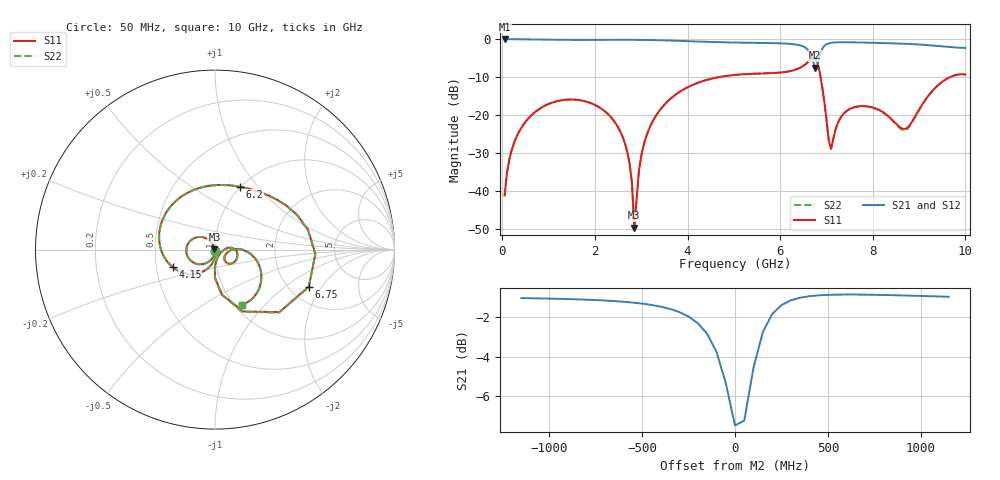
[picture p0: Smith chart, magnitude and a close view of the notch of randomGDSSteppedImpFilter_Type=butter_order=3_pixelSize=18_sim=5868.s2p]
! freq	dB(S11)	phase(S11)	dB(S12)	phase(S12)
!  dB(S21)	phase(S21)	dB(S22)	phase(S22)
!S-par simulation data
#  GHz  S  DB  R 50
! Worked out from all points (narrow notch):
!   200 points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, 50 MHz to 10 GHz, reference 50 ohm
!   highest |S21| = -0.01 dB at 50 MHz (marker M1); lowest = -7.5 dB at 6.75 GHz (marker M2)
!   notch at M2: 6.6 dB deep, 197 MHz wide at half that depth
!   lowest |S11| = -49.6 dB at 2.85 GHz (marker M3), VSWR 1.01, Z = 49.7 + j0.127 ohm
!   |S11| at or under -10 dB: start of sweep to 4.684 GHz; 6.872 GHz to 9.671 GHz (2.799 GHz wide, 33.8 % of centre)
!   |S22| runs from -49.6 to -5.0 dB; largest |S21 - S12| = 0
!   S11 on the Smith chart (normalised r, x): 50 MHz: 1.00, -0.02; 4.15 GHz: 0.61, -0.13; 6.2 GHz: 0.99, +0.81; 6.75 GHz: 2.54, -1.52; 10 GHz: 1.08, -0.75
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0.05  -41.17 -91.7  -0.01 -3.0  -0.01 -3.0  -41.17 -91.7
0.2  -29.34 -101.5  -0.02 -11.8  -0.02 -11.8  -29.34 -101.5
0.55  -21.05 -122.7  -0.08 -32.2  -0.08 -32.2  -21.05 -122.7
1.75  -16.26 168.0  -0.22 -101.4  -0.22 -101.4  -16.26 167.9
2.6  -25.78 118.6  -0.19 -151.6  -0.19 -151.6  -25.78 118.6
2.75  -32.82 110.9  -0.20 -160.8  -0.20 -160.8  -32.82 111.0
2.85  -49.62 157.2  -0.20 -166.9  -0.20 -166.9  -49.55 156.8
3  -30.78 -88.7  -0.22 -176.1  -0.22 -176.1  -30.78 -88.8
3.4  -18.74 -111.8  -0.31 159.2  -0.31 159.2  -18.74 -111.9
4.15  -11.86 -157.6  -0.61 112.7  -0.61 112.7  -11.86 -157.8
5.05  -9.40 147.0  -0.92 56.8  -0.92 56.8  -9.41 146.7
5.65  -9.04 108.1  -1.02 17.7  -1.02 17.7  -9.04 107.7
6.2  -8.47 68.3  -1.24 -21.6  -1.24 -21.6  -8.48 67.7
6.7  -5.04 -2.3  -5.32 -66.3  -5.32 -66.3  -5.04 -2.9
6.75  -5.00 -21.5  -7.49 -58.8  -7.49 -58.8  -5.00 -22.0
6.9  -11.93 -81.3  -2.74 -37.6  -2.74 -37.6  -11.92 -81.8
7.1  -28.90 -27.8  -1.00 -64.7  -1.00 -64.7  -28.77 -29.2
7.5  -18.42 -4.0  -0.85 -101.4  -0.85 -101.4  -18.45 -5.1
8.35  -20.43 -48.5  -1.09 -172.1  -1.09 -172.1  -20.56 -49.7
8.7  -23.64 -24.4  -1.24 157.1  -1.24 157.1  -23.94 -24.4
9.25  -14.16 -6.4  -1.66 105.2  -1.66 105.2  -14.19 -5.9
10  -9.34 -64.1  -2.33 28.8  -2.33 28.8  -9.34 -63.8
